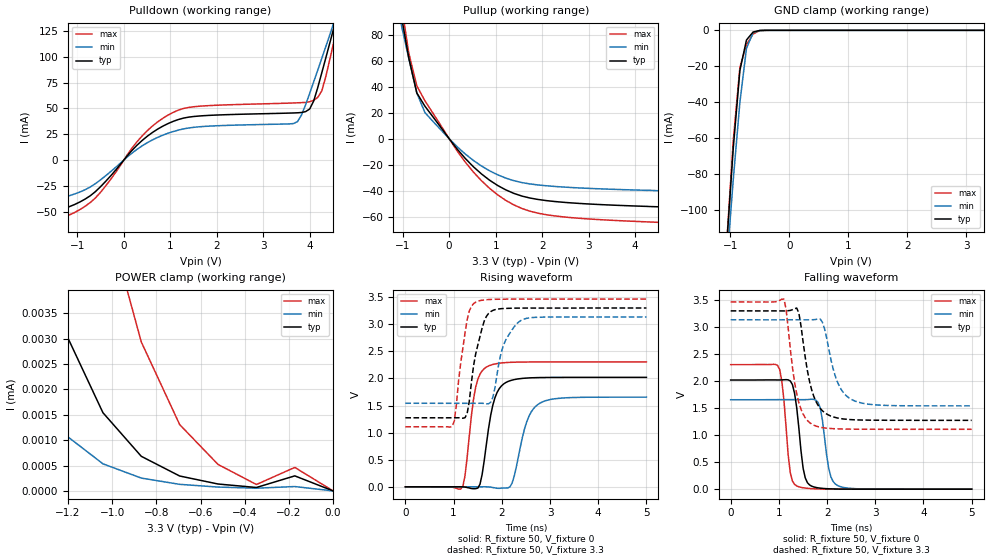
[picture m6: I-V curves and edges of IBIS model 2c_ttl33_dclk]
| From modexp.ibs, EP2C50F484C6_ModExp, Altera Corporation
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[Model] 2c_ttl33_dclk
Model_type I/O
Vinl  = 0.8V
Vinh  = 1.7V
Vmeas = 1.5675V
Rref  = 1M
Cref  = 0pF
Vref  = 0V
C_comp  3.8pF   NA   NA
[Temperature Range] 25   85   0
[Voltage Range]   3.3   3.135   3.465
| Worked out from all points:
|   slope of the pulldown table from 0 to 0.495 V, typ, clamps not added: 21.8 ohm
|   slope of the pullup table from 0 to 0.495 V, typ, clamps not added: 24 ohm
|   GND clamp passes 1 mA (typ) near -0.62 V on its own axis
|   rising waveform, R_fixture 50, V_fixture 0: 20-80 % time 227ps typ, 283ps min, 189ps max; typ from 0 V to 2.02 V
|   falling waveform, R_fixture 50, V_fixture 0: 20-80 % time 149ps typ, 155ps min, 135ps max; typ from 2.02 V to 0 V
|   rising waveform, R_fixture 50, V_fixture 3.3: 20-80 % time 243ps typ, 290ps min, 200ps max; typ from 1.27 V to 3.3 V
|   falling waveform, R_fixture 50, V_fixture 3.3: 20-80 % time 265ps typ, 297ps min, 231ps max; typ from 3.3 V to 1.27 V
[GND Clamp]
| voltage   I (typ)   I (min)   I (max)
-3.3V     -1.379A    -1.218A    -1.475A
-1.063V   -119.5mA   -130.7mA   -118.6mA
-950.8mV  -65.61mA   -83.07mA   -61.36mA
-839mV    -22.42mA   -40.22mA   -20.68mA
-727.1mV  -5.406mA   -10.03mA   -7.969mA
-615.2mV  -953.2uA   -1.404mA   -2.067mA
-503.4mV  -74.89uA   -141.3uA   -180.2uA
-391.5mV  -3.887uA   -8.056uA   -7.422uA
3.3V      9.506nA    162.7nA    -15.59nA
[Pulldown]
| voltage   I (typ)   I (min)   I (max)
-3.3V     -55mA      -43.5mA    -62mA
-1.958V   -53.99mA   -41.93mA   -63.1mA
-1.063V   -43.09mA   -32.87mA   -50.85mA
-503.4mV  -25.88mA   -19.22mA   -31.32mA
503.4mV   23.02mA    16.76mA    28.38mA
1.175V    39.25mA    29mA       48.35mA
3.647V    45.56mA    35.32mA    55.23mA
3.995V    49.34mA    64.53mA    56.37mA
4.168V    70.08mA    86.98mA    60.63mA
4.516V    128.1mA    133.1mA    114.8mA
4.603V    142.7mA    144.8mA    132mA
6.6V      483.6mA    425.8mA    528.2mA
[POWER Clamp]
| voltage   I (typ)   I (min)   I (max)
-3.3V     85.54uA    53.94uA    123.1uA
-1.563V   9.367uA    3.921uA    20.9uA
-1.389V   5.741uA    2.184uA    14.76uA
-1.216V   3.156uA    1.117uA    9.675uA
-1.042V   1.542uA    534.4nA    5.706uA
-868.4mV  681.9nA    253.2nA    2.935uA
-694.7mV  294.1nA    129.7nA    1.307uA
-521.1mV  136.2nA    76.02nA    522nA
-347.4mV  67.51nA    54.2nA     126.3nA
-173.7mV  296.7nA    86.25nA    463.4nA
0V        0A         0A         0A
[Pullup]
| voltage   I (typ)   I (min)   I (max)
-3.3V     540.1mA    459.8mA    612.7mA
-1.042V   97.3mA     89.83mA    106.8mA
-868.4mV  62.17mA    61.83mA    66.03mA
-694.7mV  35.17mA    35.1mA     40.62mA
-521.1mV  24.98mA    20.11mA    29.15mA
173.7mV   -8.049mA   -6.256mA   -9.513mA
521.1mV   -21.57mA   -16.74mA   -25.63mA
1.042V    -35.97mA   -27.77mA   -43.16mA
1.563V    -44.12mA   -33.76mA   -53.66mA
2.084V    -47.6mA    -36.2mA    -58.45mA
2.779V    -49.75mA   -37.85mA   -61.17mA
6.6V      -56mA      -43mA      -67.9mA
[Ramp]
dV/dt_r   1.216e+000/2.430e-010  9.558e-001/2.897e-010  1.414e+000/1.999e-010
dV/dt_f   1.216e+000/2.649e-010  9.558e-001/2.971e-010  1.414e+000/2.307e-010
R_load = 50ohms
[Rising Waveform]
R_fixture   = 50
V_fixture   = 0
V_fixture_min = 0
V_fixture_max = 0
| time   V (typ)   V (min)   V (max)
0s        0V         0V         0V
1.193ns   -482.4uV   -145.4uV   12.16mV
1.459ns   -34.32mV   -44.8uV    1.841V
1.592ns   225.3mV    354.7uV    2.139V
1.725ns   1.072V     -1.981mV   2.23V
1.902ns   1.74V      -26.7mV    2.274V
2.168ns   1.957V     -1.629mV   2.297V
2.522ns   2.007V     1.212V     2.303V
2.788ns   2.016V     1.542V     2.305V
5ns       2.02V      1.655V     2.305V
[Falling Waveform]
R_fixture   = 50
V_fixture   = 0
V_fixture_min = 0
V_fixture_max = 0
| time   V (typ)   V (min)   V (max)
0s        2.02V      1.655V     2.305V
1.016ns   2.021V     1.657V     2.219V
1.237ns   2.002V     1.657V     301.8mV
1.37ns    1.506V     1.657V     60.13mV
1.503ns   387.1mV    1.656V     25.91mV
1.68ns    55.56mV    1.664V     9.435mV
1.858ns   19.09mV    1.506V     3.439mV
2.035ns   7.213mV    381.8mV    1.233mV
2.212ns   2.715mV    70mV       428.1uV
5ns       0V         -12.26uV   -1.083uV
[Rising Waveform]
R_fixture   = 50
V_fixture   = 3.3
V_fixture_min = 3.135
V_fixture_max = 3.465
| time   V (typ)   V (min)   V (max)
0s        1.274V     1.542V     1.108V
971.5ps   1.274V     1.541V     1.113V
1.016ns   1.274V     1.541V     1.218V
1.282ns   1.355V     1.541V     3.088V
1.459ns   2.454V     1.541V     3.409V
1.725ns   3.198V     1.533V     3.455V
1.813ns   3.255V     1.649V     3.459V
2.035ns   3.291V     2.613V     3.463V
2.389ns   3.298V     3.066V     3.464V
5ns       3.3V       3.135V     3.465V
[Falling Waveform]
R_fixture   = 50
V_fixture   = 3.3
V_fixture_min = 3.135
V_fixture_max = 3.465
| time   V (typ)   V (min)   V (max)
0s        3.3V       3.135V     3.465V
1.104ns   3.299V     3.135V     3.518V
1.149ns   3.3V       3.135V     3.34V
1.326ns   3.339V     3.135V     1.978V
1.415ns   3.26V      3.134V     1.601V
1.68ns    1.838V     3.135V     1.206V
1.902ns   1.452V     3.091V     1.14V
2.212ns   1.317V     1.99V      1.116V
2.522ns   1.286V     1.653V     1.11V
5ns       1.274V     1.542V     1.108V
